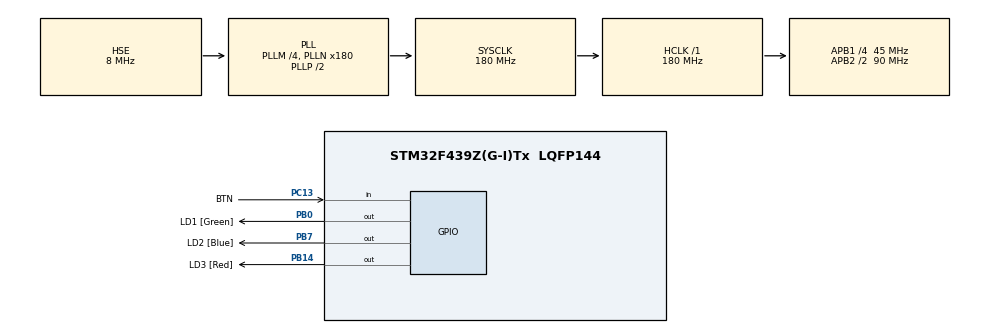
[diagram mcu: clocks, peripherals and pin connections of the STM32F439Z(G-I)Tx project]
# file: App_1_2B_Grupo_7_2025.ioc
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Mcu.Family=STM32F4
Mcu.Name=STM32F439Z(G-I)Tx
Mcu.Package=LQFP144
NVIC.PriorityGroup=NVIC_PRIORITYGROUP_4
PB0.GPIO_Label=LD1 [Green]
PB0.Signal=GPIO_Output
PB14.GPIO_Label=LD3 [Red]
PB14.Signal=GPIO_Output
PB7.GPIO_Label=LD2 [Blue]
PB7.Signal=GPIO_Output
PC13.GPIO_Label=BTN
PC13.Signal=GPIO_Input
PH0/OSC_IN.Mode=HSE-External-Oscillator
PH0/OSC_IN.Signal=RCC_OSC_IN
PH1/OSC_OUT.Mode=HSE-External-Oscillator
PH1/OSC_OUT.Signal=RCC_OSC_OUT
ProjectManager.HeapSize=0x200
ProjectManager.StackSize=0x400
ProjectManager.TargetToolchain=STM32CubeIDE
RCC.48MHZClocksFreq_Value=51428571.428571425
RCC.AHBFreq_Value=180000000
RCC.APB1CLKDivider=RCC_HCLK_DIV4
RCC.APB1Freq_Value=45000000
RCC.APB1TimFreq_Value=90000000
RCC.APB2CLKDivider=RCC_HCLK_DIV2
RCC.APB2Freq_Value=90000000
RCC.APB2TimFreq_Value=180000000
RCC.CortexFreq_Value=180000000
RCC.HCLKFreq_Value=180000000
RCC.HSE_VALUE=8000000
RCC.HSI_VALUE=16000000
RCC.PLLM=4
RCC.PLLMUL=RCC_PLL_MUL9
RCC.PLLN=180
RCC.PLLQ=7
RCC.PLLSourceVirtual=RCC_PLLSOURCE_HSE
RCC.PRESCALERUSB=RCC_USBCLKSOURCE_PLL_DIV1_5
RCC.SYSCLKFreq_VALUE=180000000
RCC.SYSCLKSource=RCC_SYSCLKSOURCE_PLLCLK
RCC.SYSCLKSourceVirtual=RCC_SYSCLKSOURCE_PLLCLK
RCC.USBFreq_Value=48000000
RCC.VCOOutputFreq_Value=360000000
board=NUCLEO-F439ZI

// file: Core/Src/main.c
/* USER CODE BEGIN Header */
/**
  ******************************************************************************
  * @file           : main.c
  * @brief          : Main program body
  ******************************************************************************
  * @attention
  *
  * Copyright (c) 2025 STMicroelectronics.
  * All rights reserved.
  *
  * This software is licensed under terms that can be found in the LICENSE file
  * in the root directory of this software component.
  * If no LICENSE file comes with this software, it is provided AS-IS.
  *
  ******************************************************************************
  */
/* USER CODE END Header */
#include "main.h"

/* USER CODE BEGIN Includes */
#include <stdbool.h>
/* USER CODE END Includes */

/* USER CODE BEGIN PV */
#define n_leds 2 //cantidad de leds - 1
#define demora 200

uint16_t Leds [10] = {LD1_Pin, LD2_Pin, LD3_Pin}; //Array de leds
uint8_t contador;
bool estado  = 0;
/* USER CODE END PV */

void SystemClock_Config(void);
static void MX_GPIO_Init(void);

int main(void)
{

  /* MCU Configuration--------------------------------------------------------*/

  /* Reset of all peripherals, Initializes the Flash interface and the Systick. */
  HAL_Init();

  /* Configure the system clock */
  SystemClock_Config();

  /* Initialize all configured peripherals */
  MX_GPIO_Init();

  /* Infinite loop */
  while (1)
  {

    /* USER CODE BEGIN 3 */
		if ((HAL_GPIO_ReadPin(BTN_GPIO_Port, BTN_Pin)) == 1 ) {

			HAL_Delay(5);

			while((HAL_GPIO_ReadPin(BTN_GPIO_Port, BTN_Pin)) == 1){}

			HAL_Delay(5);

			estado = !estado;
		}

		if(estado){

			for (contador = 0; contador <= n_leds; contador++) {
				HAL_GPIO_WritePin(GPIOB, Leds[n_leds-contador], GPIO_PIN_SET);
				HAL_Delay(demora);
				HAL_GPIO_WritePin(GPIOB, Leds[n_leds-contador], GPIO_PIN_RESET);
				HAL_Delay(demora);
			}

		}else{

			for (contador = 0; contador <= n_leds; contador++) {
				HAL_GPIO_WritePin(GPIOB, Leds[contador], GPIO_PIN_SET);
				HAL_Delay(demora);
				HAL_GPIO_WritePin(GPIOB, Leds[contador], GPIO_PIN_RESET);
				HAL_Delay(demora);
			}

		}
  }
  /* USER CODE END 3 */
}

void SystemClock_Config(void)
{
  RCC_OscInitTypeDef RCC_OscInitStruct = {0};
  RCC_ClkInitTypeDef RCC_ClkInitStruct = {0};

  /** Configure the main internal regulator output voltage
  */
  __HAL_RCC_PWR_CLK_ENABLE();
  __HAL_PWR_VOLTAGESCALING_CONFIG(PWR_REGULATOR_VOLTAGE_SCALE1);

  /** Initializes the RCC Oscillators according to the specified parameters
  * in the RCC_OscInitTypeDef structure.
  */
  RCC_OscInitStruct.OscillatorType = RCC_OSCILLATORTYPE_HSE;
  RCC_OscInitStruct.HSEState = RCC_HSE_ON;
  RCC_OscInitStruct.PLL.PLLState = RCC_PLL_ON;
  RCC_OscInitStruct.PLL.PLLSource = RCC_PLLSOURCE_HSE;
  RCC_OscInitStruct.PLL.PLLM = 4;
  RCC_OscInitStruct.PLL.PLLN = 180;
  RCC_OscInitStruct.PLL.PLLP = RCC_PLLP_DIV2;
  RCC_OscInitStruct.PLL.PLLQ = 7;
  if (HAL_RCC_OscConfig(&RCC_OscInitStruct) != HAL_OK)
  {
    Error_Handler();
  }

  /** Activate the Over-Drive mode
  */
  if (HAL_PWREx_EnableOverDrive() != HAL_OK)
  {
    Error_Handler();
  }

  /** Initializes the CPU, AHB and APB buses clocks
  */
  RCC_ClkInitStruct.ClockType = RCC_CLOCKTYPE_HCLK|RCC_CLOCKTYPE_SYSCLK
                              |RCC_CLOCKTYPE_PCLK1|RCC_CLOCKTYPE_PCLK2;
  RCC_ClkInitStruct.SYSCLKSource = RCC_SYSCLKSOURCE_PLLCLK;
  RCC_ClkInitStruct.AHBCLKDivider = RCC_SYSCLK_DIV1;
  RCC_ClkInitStruct.APB1CLKDivider = RCC_HCLK_DIV4;
  RCC_ClkInitStruct.APB2CLKDivider = RCC_HCLK_DIV2;

  if (HAL_RCC_ClockConfig(&RCC_ClkInitStruct, FLASH_LATENCY_5) != HAL_OK)
  {
    Error_Handler();
  }
}

static void MX_GPIO_Init(void)
{
  GPIO_InitTypeDef GPIO_InitStruct = {0};

  /* GPIO Ports Clock Enable */
  __HAL_RCC_GPIOC_CLK_ENABLE();
  __HAL_RCC_GPIOH_CLK_ENABLE();
  __HAL_RCC_GPIOB_CLK_ENABLE();

  /*Configure GPIO pin Output Level */
  HAL_GPIO_WritePin(GPIOB, LD1_Pin|LD3_Pin|LD2_Pin, GPIO_PIN_RESET);

  /*Configure GPIO pin : BTN_Pin */
  GPIO_InitStruct.Pin = BTN_Pin;
  GPIO_InitStruct.Mode = GPIO_MODE_INPUT;
  GPIO_InitStruct.Pull = GPIO_NOPULL;
  HAL_GPIO_Init(BTN_GPIO_Port, &GPIO_InitStruct);

  /*Configure GPIO pins : LD1_Pin LD3_Pin LD2_Pin */
  GPIO_InitStruct.Pin = LD1_Pin|LD3_Pin|LD2_Pin;
  GPIO_InitStruct.Mode = GPIO_MODE_OUTPUT_PP;
  GPIO_InitStruct.Pull = GPIO_NOPULL;
  GPIO_InitStruct.Speed = GPIO_SPEED_FREQ_LOW;
  HAL_GPIO_Init(GPIOB, &GPIO_InitStruct);

}

void Error_Handler(void)
{
  __disable_irq();
  while (1)
  {
  }
}
